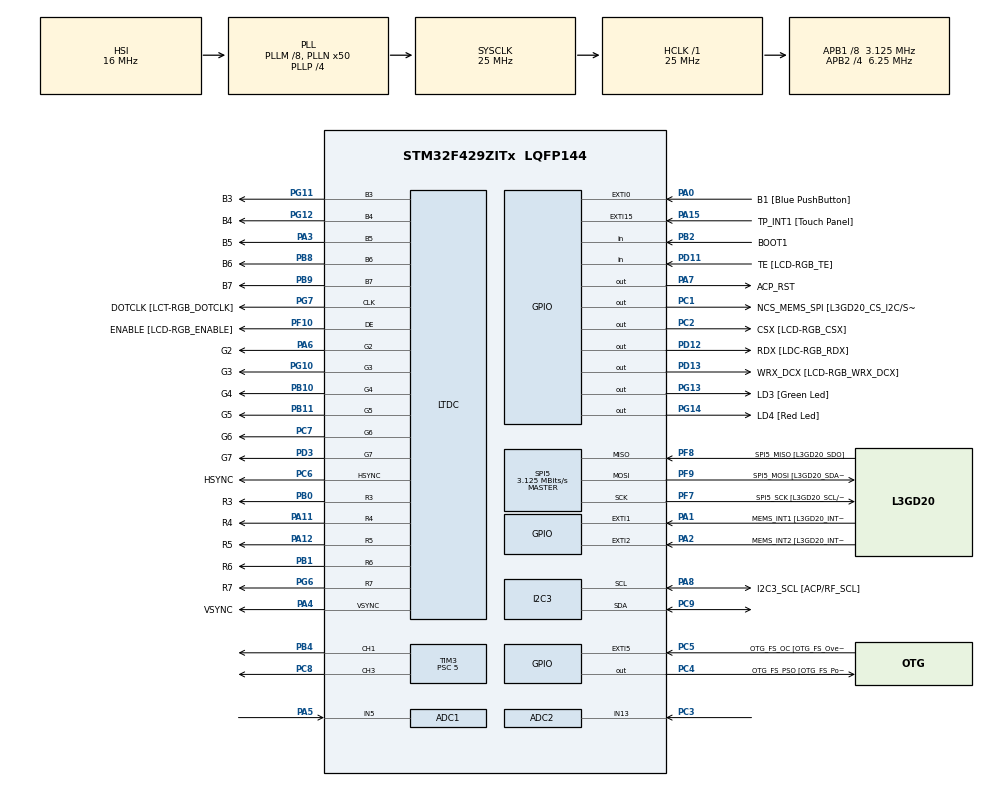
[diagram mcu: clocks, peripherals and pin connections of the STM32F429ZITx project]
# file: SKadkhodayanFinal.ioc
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ADC1.Channel-1\#ChannelRegularConversion=ADC_CHANNEL_5
ADC1.ContinuousConvMode=DISABLE
ADC1.DMAContinuousRequests=DISABLE
ADC1.DiscontinuousConvMode=DISABLE
ADC1.EOCSelection=ADC_EOC_SEQ_CONV
ADC1.InjNumberOfConversion=0
ADC1.Mode=__NULL
ADC1.NbrOfConversion=1
ADC1.NbrOfConversionFlag=1
ADC1.Rank-1\#ChannelRegularConversion=1
ADC1.Resolution=ADC_RESOLUTION_10B
ADC1.SamplingTime-1\#ChannelRegularConversion=ADC_SAMPLETIME_3CYCLES
ADC1.ScanConvMode=ENABLE
ADC1.master=1
ADC2.Channel-0\#ChannelRegularConversion=ADC_CHANNEL_13
ADC2.EOCSelection=ADC_EOC_SEQ_CONV
ADC2.NbrOfConversionFlag=1
ADC2.Rank-0\#ChannelRegularConversion=1
ADC2.Resolution=ADC_RESOLUTION_10B
ADC2.SamplingTime-0\#ChannelRegularConversion=ADC_SAMPLETIME_3CYCLES
ADC2.ScanConvMode=ENABLE
Mcu.Family=STM32F4
Mcu.Name=STM32F429ZITx
Mcu.Package=LQFP144
NVIC.PriorityGroup=NVIC_PRIORITYGROUP_0
PA0/WKUP.GPIO_Label=B1 [Blue PushButton]
PA0/WKUP.GPIO_ModeDefaultEXTI=GPIO_MODE_EVT_RISING
PA0/WKUP.GPIO_PuPd=GPIO_NOPULL
PA0/WKUP.Signal=GPXTI0
PA1.GPIO_Label=MEMS_INT1 [L3GD20_INT1]
PA1.GPIO_ModeDefaultEXTI=GPIO_MODE_EVT_RISING
PA1.GPIO_PuPd=GPIO_NOPULL
PA1.Signal=GPXTI1
PA10.GPIO_Label=STLINK_TX [STM32F103CBT6_PA2]
PA10.Signal=USART1_RX
PA11.GPIO_Label=R4
PA11.GPIO_Mode=GPIO_MODE_AF_PP
PA11.GPIO_PuPd=GPIO_NOPULL
PA11.GPIO_Speed=GPIO_SPEED_FREQ_LOW
PA11.Mode=RGB565
PA11.Signal=LTDC_R4
PA12.GPIO_Label=R5
PA12.GPIO_Mode=GPIO_MODE_AF_PP
PA12.GPIO_PuPd=GPIO_NOPULL
PA12.GPIO_Speed=GPIO_SPEED_FREQ_LOW
PA12.Mode=RGB565
PA12.Signal=LTDC_R5
PA13.GPIO_Label=SWDIO
PA13.Signal=SYS_JTMS-SWDIO
PA14.GPIO_Label=SWCLK
PA14.Signal=SYS_JTCK-SWCLK
PA15.GPIO_Label=TP_INT1 [Touch Panel]
PA15.GPIO_ModeDefaultEXTI=GPIO_MODE_EVT_RISING
PA15.GPIO_PuPd=GPIO_NOPULL
PA15.Signal=GPXTI15
PA2.GPIO_Label=MEMS_INT2 [L3GD20_INT2]
PA2.GPIO_ModeDefaultEXTI=GPIO_MODE_EVT_RISING
PA2.GPIO_PuPd=GPIO_NOPULL
PA2.Signal=GPXTI2
PA3.GPIO_Label=B5
PA3.GPIO_Mode=GPIO_MODE_AF_PP
PA3.GPIO_PuPd=GPIO_NOPULL
PA3.GPIO_Speed=GPIO_SPEED_FREQ_LOW
PA3.Mode=RGB565
PA3.Signal=LTDC_B5
PA4.GPIO_Label=VSYNC
PA4.GPIO_Mode=GPIO_MODE_AF_PP
PA4.GPIO_PuPd=GPIO_NOPULL
PA4.GPIO_Speed=GPIO_SPEED_FREQ_LOW
PA4.Mode=RGB565
PA4.Signal=LTDC_VSYNC
PA5.Signal=ADCx_IN5
PA6.GPIO_Label=G2
PA6.GPIO_Mode=GPIO_MODE_AF_PP
PA6.GPIO_PuPd=GPIO_NOPULL
PA6.GPIO_Speed=GPIO_SPEED_FREQ_LOW
PA6.Mode=RGB565
PA6.Signal=LTDC_G2
PA7.GPIO_Label=ACP_RST
PA7.GPIO_Mode=GPIO_MODE_OUTPUT_PP
PA7.GPIO_PuPd=GPIO_NOPULL
PA7.GPIO_Speed=GPIO_SPEED_FREQ_LOW
PA7.Signal=GPIO_Output
PA8.GPIO_Label=I2C3_SCL [ACP/RF_SCL]
PA8.GPIO_Mode=GPIO_MODE_AF_OD
PA8.GPIO_PuPd=GPIO_NOPULL
PA8.GPIO_Speed=GPIO_SPEED_FREQ_LOW
PA8.Mode=I2C
PA8.Signal=I2C3_SCL
PA9.GPIO_Label=STLINK_RX [STM32F103CBT6_PA3]
PA9.Signal=USART1_TX
PB0.GPIO_Label=R3
PB0.GPIO_Mode=GPIO_MODE_AF_PP
PB0.GPIO_PuPd=GPIO_NOPULL
PB0.GPIO_Speed=GPIO_SPEED_FREQ_LOW
PB0.Mode=RGB565
PB0.Signal=LTDC_R3
PB1.GPIO_Label=R6
PB1.GPIO_Mode=GPIO_MODE_AF_PP
PB1.GPIO_PuPd=GPIO_NOPULL
PB1.GPIO_Speed=GPIO_SPEED_FREQ_LOW
PB1.Mode=RGB565
PB1.Signal=LTDC_R6
PB10.GPIO_Label=G4
PB10.GPIO_Mode=GPIO_MODE_AF_PP
PB10.GPIO_PuPd=GPIO_NOPULL
PB10.GPIO_Speed=GPIO_SPEED_FREQ_LOW
PB10.Mode=RGB565
PB10.Signal=LTDC_G4
PB11.GPIO_Label=G5
PB11.GPIO_Mode=GPIO_MODE_AF_PP
PB11.GPIO_PuPd=GPIO_NOPULL
PB11.GPIO_Speed=GPIO_SPEED_FREQ_LOW
PB11.Mode=RGB565
PB11.Signal=LTDC_G5
PB12.GPIO_Label=OTG_HS_ID
PB12.GPIO_Mode=GPIO_MODE_AF_PP
PB12.GPIO_PuPd=GPIO_NOPULL
PB12.GPIO_Speed=GPIO_SPEED_FREQ_LOW
PB12.Signal=USB_OTG_HS_ID
PB13.GPIO_Label=VBUS_HS
PB13.GPIO_Mode=GPIO_MODE_INPUT
PB13.GPIO_PuPd=GPIO_NOPULL
PB13.Signal=USB_OTG_HS_VBUS
PB14.GPIO_Label=OTG_HS_DM
PB14.GPIO_Mode=GPIO_MODE_AF_PP
PB14.GPIO_PuPd=GPIO_NOPULL
PB14.GPIO_Speed=GPIO_SPEED_FREQ_LOW
PB14.Signal=USB_OTG_HS_DM
PB15.GPIO_Label=OTG_HS_DP
PB15.GPIO_Mode=GPIO_MODE_AF_PP
PB15.GPIO_PuPd=GPIO_NOPULL
PB15.GPIO_Speed=GPIO_SPEED_FREQ_LOW
PB15.Signal=USB_OTG_HS_DP
PB2/BOOT1.GPIO_Label=BOOT1
PB2/BOOT1.GPIO_Mode=GPIO_MODE_INPUT
PB2/BOOT1.GPIO_PuPd=GPIO_NOPULL
PB2/BOOT1.Signal=GPIO_Input
PB4.Signal=S_TIM3_CH1
PB5.GPIO_Label=SDCKE1
PB5.GPIO_Mode=GPIO_MODE_AF_PP
PB5.GPIO_PuPd=GPIO_NOPULL
PB5.GPIO_Speed=GPIO_SPEED_FREQ_VERY_HIGH
PB5.Signal=FMC_SDCKE1
PB6.GPIO_Label=SDNE1 [SDRAM_CS]
PB6.GPIO_Mode=GPIO_MODE_AF_PP
PB6.GPIO_PuPd=GPIO_NOPULL
PB6.GPIO_Speed=GPIO_SPEED_FREQ_VERY_HIGH
PB6.Signal=FMC_SDNE1
PB8.GPIO_Label=B6
PB8.GPIO_Mode=GPIO_MODE_AF_PP
PB8.GPIO_PuPd=GPIO_NOPULL
PB8.GPIO_Speed=GPIO_SPEED_FREQ_LOW
PB8.Mode=RGB565
PB8.Signal=LTDC_B6
PB9.GPIO_Label=B7
PB9.GPIO_Mode=GPIO_MODE_AF_PP
PB9.GPIO_PuPd=GPIO_NOPULL
PB9.GPIO_Speed=GPIO_SPEED_FREQ_LOW
PB9.Mode=RGB565
PB9.Signal=LTDC_B7
PC0.GPIO_Label=SDNWE
PC0.GPIO_Mode=GPIO_MODE_AF_PP
PC0.GPIO_PuPd=GPIO_NOPULL
PC0.GPIO_Speed=GPIO_SPEED_FREQ_VERY_HIGH
PC0.Signal=FMC_SDNWE
PC1.GPIO_Label=NCS_MEMS_SPI [L3GD20_CS_I2C/SPI]
PC1.GPIO_Mode=GPIO_MODE_OUTPUT_PP
PC1.GPIO_PuPd=GPIO_NOPULL
PC1.GPIO_Speed=GPIO_SPEED_FREQ_LOW
PC1.Signal=GPIO_Output
PC10.GPIO_Label=R2
PC10.GPIO_Mode=GPIO_MODE_AF_PP
PC10.GPIO_PuPd=GPIO_NOPULL
PC10.GPIO_Speed=GPIO_SPEED_FREQ_LOW
PC10.Signal=LTDC_R2
PC14/OSC32_IN.GPIO_Label=PC14-OSC32_IN
PC14/OSC32_IN.Mode=LSE-External-Oscillator
PC14/OSC32_IN.Signal=RCC_OSC32_IN
PC15/OSC32_OUT.GPIO_Label=PC15-OSC32_OUT
PC15/OSC32_OUT.Mode=LSE-External-Oscillator
PC15/OSC32_OUT.Signal=RCC_OSC32_OUT
PC2.GPIO_Label=CSX [LCD-RGB_CSX]
PC2.GPIO_Mode=GPIO_MODE_OUTPUT_PP
PC2.GPIO_PuPd=GPIO_NOPULL
PC2.GPIO_Speed=GPIO_SPEED_FREQ_LOW
PC2.Signal=GPIO_Output
PC3.Signal=ADCx_IN13
PC4.GPIO_Label=OTG_FS_PSO [OTG_FS_PowerSwitchOn]
PC4.GPIO_Mode=GPIO_MODE_OUTPUT_PP
PC4.GPIO_PuPd=GPIO_NOPULL
PC4.GPIO_Speed=GPIO_SPEED_FREQ_LOW
PC4.Signal=GPIO_Output
PC5.GPIO_Label=OTG_FS_OC [OTG_FS_OverCurrent]
PC5.GPIO_ModeDefaultEXTI=GPIO_MODE_EVT_RISING
PC5.Signal=GPXTI5
PC6.GPIO_Label=HSYNC
PC6.GPIO_Mode=GPIO_MODE_AF_PP
PC6.GPIO_PuPd=GPIO_NOPULL
PC6.GPIO_Speed=GPIO_SPEED_FREQ_LOW
PC6.Mode=RGB565
PC6.Signal=LTDC_HSYNC
PC7.GPIO_Label=G6
PC7.GPIO_Mode=GPIO_MODE_AF_PP
PC7.GPIO_PuPd=GPIO_NOPULL
PC7.GPIO_Speed=GPIO_SPEED_FREQ_LOW
PC7.Mode=RGB565
PC7.Signal=LTDC_G6
PC8.Signal=S_TIM3_CH3
PC9.Mode=I2C
PC9.Signal=I2C3_SDA
PD0.GPIO_Label=D2
PD0.GPIO_Mode=GPIO_MODE_AF_PP
PD0.GPIO_PuPd=GPIO_NOPULL
PD0.GPIO_Speed=GPIO_SPEED_FREQ_VERY_HIGH
PD0.Signal=FMC_D2_DA2
PD1.GPIO_Label=D3
PD1.GPIO_Mode=GPIO_MODE_AF_PP
PD1.GPIO_PuPd=GPIO_NOPULL
PD1.GPIO_Speed=GPIO_SPEED_FREQ_VERY_HIGH
PD1.Signal=FMC_D3_DA3
PD10.GPIO_Label=D15
PD10.GPIO_Mode=GPIO_MODE_AF_PP
PD10.GPIO_PuPd=GPIO_NOPULL
PD10.GPIO_Speed=GPIO_SPEED_FREQ_VERY_HIGH
PD10.Signal=FMC_D15_DA15
PD11.GPIO_Label=TE [LCD-RGB_TE]
PD11.GPIO_Mode=GPIO_MODE_INPUT
PD11.GPIO_PuPd=GPIO_NOPULL
PD11.Signal=GPIO_Input
PD12.GPIO_Label=RDX [LDC-RGB_RDX]
PD12.GPIO_Mode=GPIO_MODE_OUTPUT_PP
PD12.GPIO_PuPd=GPIO_NOPULL
PD12.GPIO_Speed=GPIO_SPEED_FREQ_LOW
PD12.Signal=GPIO_Output
PD13.GPIO_Label=WRX_DCX [LCD-RGB_WRX_DCX]
PD13.GPIO_Mode=GPIO_MODE_OUTPUT_PP
PD13.GPIO_PuPd=GPIO_NOPULL
PD13.GPIO_Speed=GPIO_SPEED_FREQ_LOW
PD13.Signal=GPIO_Output
PD14.GPIO_Label=D0
PD14.GPIO_Mode=GPIO_MODE_AF_PP
PD14.GPIO_PuPd=GPIO_NOPULL
PD14.GPIO_Speed=GPIO_SPEED_FREQ_VERY_HIGH
PD14.Signal=FMC_D0_DA0
PD15.GPIO_Label=D1
PD15.GPIO_Mode=GPIO_MODE_AF_PP
PD15.GPIO_PuPd=GPIO_NOPULL
PD15.GPIO_Speed=GPIO_SPEED_FREQ_VERY_HIGH
PD15.Signal=FMC_D1_DA1
PD3.GPIO_Label=G7
PD3.GPIO_Mode=GPIO_MODE_AF_PP
PD3.GPIO_PuPd=GPIO_NOPULL
PD3.GPIO_Speed=GPIO_SPEED_FREQ_LOW
PD3.Mode=RGB565
PD3.Signal=LTDC_G7
PD6.GPIO_Label=B2
PD6.GPIO_Mode=GPIO_MODE_AF_PP
PD6.GPIO_PuPd=GPIO_NOPULL
PD6.GPIO_Speed=GPIO_SPEED_FREQ_LOW
PD6.Signal=LTDC_B2
PD8.GPIO_Label=D13
PD8.GPIO_Mode=GPIO_MODE_AF_PP
PD8.GPIO_PuPd=GPIO_NOPULL
PD8.GPIO_Speed=GPIO_SPEED_FREQ_VERY_HIGH
PD8.Signal=FMC_D13_DA13
PD9.GPIO_Label=D14
PD9.GPIO_Mode=GPIO_MODE_AF_PP
PD9.GPIO_PuPd=GPIO_NOPULL
PD9.GPIO_Speed=GPIO_SPEED_FREQ_VERY_HIGH
PD9.Signal=FMC_D14_DA14
PE0.GPIO_Label=NBL0 [SDRAM_LDQM]
PE0.GPIO_Mode=GPIO_MODE_AF_PP
PE0.GPIO_PuPd=GPIO_NOPULL
PE0.GPIO_Speed=GPIO_SPEED_FREQ_VERY_HIGH
PE0.Signal=FMC_NBL0
PE1.GPIO_Label=NBL1 [SDRAM_UDQM]
PE1.GPIO_Mode=GPIO_MODE_AF_PP
PE1.GPIO_PuPd=GPIO_NOPULL
PE1.GPIO_Speed=GPIO_SPEED_FREQ_VERY_HIGH
PE1.Signal=FMC_NBL1
PE10.GPIO_Label=D7
PE10.GPIO_Mode=GPIO_MODE_AF_PP
PE10.GPIO_PuPd=GPIO_NOPULL
PE10.GPIO_Speed=GPIO_SPEED_FREQ_VERY_HIGH
PE10.Signal=FMC_D7_DA7
PE11.GPIO_Label=D8
PE11.GPIO_Mode=GPIO_MODE_AF_PP
PE11.GPIO_PuPd=GPIO_NOPULL
PE11.GPIO_Speed=GPIO_SPEED_FREQ_VERY_HIGH
PE11.Signal=FMC_D8_DA8
PE12.GPIO_Label=D9
PE12.GPIO_Mode=GPIO_MODE_AF_PP
PE12.GPIO_PuPd=GPIO_NOPULL
PE12.GPIO_Speed=GPIO_SPEED_FREQ_VERY_HIGH
PE12.Signal=FMC_D9_DA9
PE13.GPIO_Label=D10
PE13.GPIO_Mode=GPIO_MODE_AF_PP
PE13.GPIO_PuPd=GPIO_NOPULL
PE13.GPIO_Speed=GPIO_SPEED_FREQ_VERY_HIGH
PE13.Signal=FMC_D10_DA10
PE14.GPIO_Label=D11
PE14.GPIO_Mode=GPIO_MODE_AF_PP
PE14.GPIO_PuPd=GPIO_NOPULL
PE14.GPIO_Speed=GPIO_SPEED_FREQ_VERY_HIGH
PE14.Signal=FMC_D11_DA11
PE15.GPIO_Label=D12
PE15.GPIO_Mode=GPIO_MODE_AF_PP
PE15.GPIO_PuPd=GPIO_NOPULL
PE15.GPIO_Speed=GPIO_SPEED_FREQ_VERY_HIGH
PE15.Signal=FMC_D12_DA12
PE7.GPIO_Label=D4
PE7.GPIO_Mode=GPIO_MODE_AF_PP
PE7.GPIO_PuPd=GPIO_NOPULL
PE7.GPIO_Speed=GPIO_SPEED_FREQ_VERY_HIGH
PE7.Signal=FMC_D4_DA4
PE8.GPIO_Label=D5
PE8.GPIO_Mode=GPIO_MODE_AF_PP
PE8.GPIO_PuPd=GPIO_NOPULL
PE8.GPIO_Speed=GPIO_SPEED_FREQ_VERY_HIGH
PE8.Signal=FMC_D5_DA5
PE9.GPIO_Label=D6
PE9.GPIO_Mode=GPIO_MODE_AF_PP
PE9.GPIO_PuPd=GPIO_NOPULL
PE9.GPIO_Speed=GPIO_SPEED_FREQ_VERY_HIGH
PE9.Signal=FMC_D6_DA6
PF0.GPIO_Label=A0
PF0.GPIO_Mode=GPIO_MODE_AF_PP
PF0.GPIO_PuPd=GPIO_NOPULL
PF0.GPIO_Speed=GPIO_SPEED_FREQ_VERY_HIGH
PF0.Signal=FMC_A0
PF1.GPIO_Label=A1
PF1.GPIO_Mode=GPIO_MODE_AF_PP
PF1.GPIO_PuPd=GPIO_NOPULL
PF1.GPIO_Speed=GPIO_SPEED_FREQ_VERY_HIGH
PF1.Signal=FMC_A1
PF10.GPIO_Label=ENABLE [LCD-RGB_ENABLE]
PF10.GPIO_Mode=GPIO_MODE_AF_PP
PF10.GPIO_PuPd=GPIO_NOPULL
PF10.GPIO_Speed=GPIO_SPEED_FREQ_LOW
PF10.Mode=RGB565
PF10.Signal=LTDC_DE
PF11.GPIO_Label=SDNRAS
PF11.GPIO_Mode=GPIO_MODE_AF_PP
PF11.GPIO_PuPd=GPIO_NOPULL
PF11.GPIO_Speed=GPIO_SPEED_FREQ_VERY_HIGH
PF11.Signal=FMC_SDNRAS
PF12.GPIO_Label=A6
PF12.GPIO_Mode=GPIO_MODE_AF_PP
PF12.GPIO_PuPd=GPIO_NOPULL
PF12.GPIO_Speed=GPIO_SPEED_FREQ_VERY_HIGH
PF12.Signal=FMC_A6
PF13.GPIO_Label=A7
PF13.GPIO_Mode=GPIO_MODE_AF_PP
PF13.GPIO_PuPd=GPIO_NOPULL
PF13.GPIO_Speed=GPIO_SPEED_FREQ_VERY_HIGH
PF13.Signal=FMC_A7
PF14.GPIO_Label=A8
PF14.GPIO_Mode=GPIO_MODE_AF_PP
PF14.GPIO_PuPd=GPIO_NOPULL
PF14.GPIO_Speed=GPIO_SPEED_FREQ_VERY_HIGH
PF14.Signal=FMC_A8
PF15.GPIO_Label=A9
PF15.GPIO_Mode=GPIO_MODE_AF_PP
PF15.GPIO_PuPd=GPIO_NOPULL
PF15.GPIO_Speed=GPIO_SPEED_FREQ_VERY_HIGH
PF15.Signal=FMC_A9
PF2.GPIO_Label=A2
PF2.GPIO_Mode=GPIO_MODE_AF_PP
PF2.GPIO_PuPd=GPIO_NOPULL
PF2.GPIO_Speed=GPIO_SPEED_FREQ_VERY_HIGH
PF2.Signal=FMC_A2
PF3.GPIO_Label=A3
PF3.GPIO_Mode=GPIO_MODE_AF_PP
PF3.GPIO_PuPd=GPIO_NOPULL
PF3.GPIO_Speed=GPIO_SPEED_FREQ_VERY_HIGH
PF3.Signal=FMC_A3
PF4.GPIO_Label=A4
PF4.GPIO_Mode=GPIO_MODE_AF_PP
PF4.GPIO_PuPd=GPIO_NOPULL
PF4.GPIO_Speed=GPIO_SPEED_FREQ_VERY_HIGH
PF4.Signal=FMC_A4
PF5.GPIO_Label=A5
PF5.GPIO_Mode=GPIO_MODE_AF_PP
PF5.GPIO_PuPd=GPIO_NOPULL
PF5.GPIO_Speed=GPIO_SPEED_FREQ_VERY_HIGH
PF5.Signal=FMC_A5
PF7.GPIO_Label=SPI5_SCK [L3GD20_SCL/SPC]
PF7.GPIO_Mode=GPIO_MODE_AF_PP
PF7.GPIO_PuPd=GPIO_NOPULL
PF7.GPIO_Speed=GPIO_SPEED_FREQ_LOW
PF7.Mode=Full_Duplex_Master
PF7.Signal=SPI5_SCK
PF8.GPIO_Label=SPI5_MISO [L3GD20_SDO]
PF8.GPIO_Mode=GPIO_MODE_AF_PP
PF8.GPIO_PuPd=GPIO_NOPULL
PF8.GPIO_Speed=GPIO_SPEED_FREQ_LOW
PF8.Mode=Full_Duplex_Master
PF8.Signal=SPI5_MISO
PF9.GPIO_Label=SPI5_MOSI [L3GD20_SDA/SDI/SDO]
PF9.GPIO_Mode=GPIO_MODE_AF_PP
PF9.GPIO_PuPd=GPIO_NOPULL
PF9.GPIO_Speed=GPIO_SPEED_FREQ_LOW
PF9.Mode=Full_Duplex_Master
PF9.Signal=SPI5_MOSI
PG0.GPIO_Label=A10
PG0.GPIO_Mode=GPIO_MODE_AF_PP
PG0.GPIO_PuPd=GPIO_NOPULL
PG0.GPIO_Speed=GPIO_SPEED_FREQ_VERY_HIGH
PG0.Signal=FMC_A10
PG1.GPIO_Label=A11
PG1.GPIO_Mode=GPIO_MODE_AF_PP
PG1.GPIO_PuPd=GPIO_NOPULL
PG1.GPIO_Speed=GPIO_SPEED_FREQ_VERY_HIGH
PG1.Signal=FMC_A11
PG10.GPIO_Label=G3
PG10.GPIO_Mode=GPIO_MODE_AF_PP
PG10.GPIO_PuPd=GPIO_NOPULL
PG10.GPIO_Speed=GPIO_SPEED_FREQ_LOW
PG10.Mode=RGB565
PG10.Signal=LTDC_G3
PG11.GPIO_Label=B3
PG11.GPIO_Mode=GPIO_MODE_AF_PP
PG11.GPIO_PuPd=GPIO_NOPULL
PG11.GPIO_Speed=GPIO_SPEED_FREQ_LOW
PG11.Mode=RGB565
PG11.Signal=LTDC_B3
PG12.GPIO_Label=B4
PG12.GPIO_Mode=GPIO_MODE_AF_PP
PG12.GPIO_PuPd=GPIO_NOPULL
PG12.GPIO_Speed=GPIO_SPEED_FREQ_LOW
PG12.Mode=RGB565
PG12.Signal=LTDC_B4
PG13.GPIO_Label=LD3 [Green Led]
PG13.GPIO_Mode=GPIO_MODE_OUTPUT_PP
PG13.GPIO_PuPd=GPIO_NOPULL
PG13.GPIO_Speed=GPIO_SPEED_FREQ_LOW
PG13.Signal=GPIO_Output
PG14.GPIO_Label=LD4 [Red Led]
PG14.GPIO_Mode=GPIO_MODE_OUTPUT_PP
PG14.GPIO_PuPd=GPIO_NOPULL
PG14.GPIO_Speed=GPIO_SPEED_FREQ_LOW
PG14.Signal=GPIO_Output
PG15.GPIO_Label=SDNCAS
PG15.GPIO_Mode=GPIO_MODE_AF_PP
PG15.GPIO_PuPd=GPIO_NOPULL
PG15.GPIO_Speed=GPIO_SPEED_FREQ_VERY_HIGH
PG15.Signal=FMC_SDNCAS
PG4.GPIO_Label=BA0
PG4.GPIO_Mode=GPIO_MODE_AF_PP
PG4.GPIO_PuPd=GPIO_NOPULL
PG4.GPIO_Speed=GPIO_SPEED_FREQ_VERY_HIGH
PG4.Signal=FMC_A14_BA0
PG5.GPIO_Label=BA1
PG5.GPIO_Mode=GPIO_MODE_AF_PP
PG5.GPIO_PuPd=GPIO_NOPULL
PG5.GPIO_Speed=GPIO_SPEED_FREQ_VERY_HIGH
PG5.Signal=FMC_A15_BA1
PG6.GPIO_Label=R7
PG6.GPIO_Mode=GPIO_MODE_AF_PP
PG6.GPIO_PuPd=GPIO_NOPULL
PG6.GPIO_Speed=GPIO_SPEED_FREQ_LOW
PG6.Mode=RGB565
PG6.Signal=LTDC_R7
PG7.GPIO_Label=DOTCLK [LCT-RGB_DOTCLK]
PG7.GPIO_Mode=GPIO_MODE_AF_PP
PG7.GPIO_PuPd=GPIO_NOPULL
PG7.GPIO_Speed=GPIO_SPEED_FREQ_LOW
PG7.Mode=RGB565
PG7.Signal=LTDC_CLK
PG8.GPIO_Label=SDCLK
PG8.GPIO_Mode=GPIO_MODE_AF_PP
PG8.GPIO_PuPd=GPIO_NOPULL
PG8.GPIO_Speed=GPIO_SPEED_FREQ_VERY_HIGH
PG8.Signal=FMC_SDCLK
PH0/OSC_IN.GPIO_Label=PH0-OSC_IN
PH0/OSC_IN.Mode=HSE-External-Oscillator
PH0/OSC_IN.Signal=RCC_OSC_IN
PH1/OSC_OUT.GPIO_Label=PH1-OSC_OUT
PH1/OSC_OUT.Mode=HSE-External-Oscillator
PH1/OSC_OUT.Signal=RCC_OSC_OUT
ProjectManager.HeapSize=0x200
ProjectManager.StackSize=0x400
ProjectManager.TargetToolchain=STM32CubeIDE
RCC.48MHZClocksFreq_Value=14285714.285714285
RCC.AHBFreq_Value=25000000
RCC.APB1CLKDivider=RCC_HCLK_DIV8
RCC.APB1Freq_Value=3125000
RCC.APB1TimFreq_Value=6250000
RCC.APB2CLKDivider=RCC_HCLK_DIV4
RCC.APB2Freq_Value=6250000
RCC.APB2TimFreq_Value=12500000
RCC.CortexFreq_Value=25000000
RCC.HCLKFreq_Value=25000000
RCC.HSE_VALUE=8000000
RCC.HSI_VALUE=16000000
RCC.PLLM=8
RCC.PLLN=50
RCC.PLLP=RCC_PLLP_DIV4
RCC.PLLQ=7
RCC.PLLSAIN=50
RCC.SYSCLKFreq_VALUE=25000000
RCC.SYSCLKSource=RCC_SYSCLKSOURCE_PLLCLK
RCC.VCOOutputFreq_Value=100000000
SH.ADCx_IN13.0=ADC2_IN13,IN13
SH.ADCx_IN5.0=ADC1_IN5,IN5
SH.FMC_A0.0=FMC_A0
SH.FMC_A1.0=FMC_A1
SH.FMC_A10.0=FMC_A10
SH.FMC_A11.0=FMC_A11
SH.FMC_A14_BA0.0=FMC_BA0
SH.FMC_A15_BA1.0=FMC_BA1
SH.FMC_A2.0=FMC_A2
SH.FMC_A3.0=FMC_A3
SH.FMC_A4.0=FMC_A4
SH.FMC_A5.0=FMC_A5
SH.FMC_A6.0=FMC_A6
SH.FMC_A7.0=FMC_A7
SH.FMC_A8.0=FMC_A8
SH.FMC_A9.0=FMC_A9
SH.FMC_D0_DA0.0=FMC_D0
SH.FMC_D10_DA10.0=FMC_D10
SH.FMC_D11_DA11.0=FMC_D11
SH.FMC_D12_DA12.0=FMC_D12
SH.FMC_D13_DA13.0=FMC_D13
SH.FMC_D14_DA14.0=FMC_D14
SH.FMC_D15_DA15.0=FMC_D15
SH.FMC_D1_DA1.0=FMC_D1
SH.FMC_D2_DA2.0=FMC_D2
SH.FMC_D3_DA3.0=FMC_D3
SH.FMC_D4_DA4.0=FMC_D4
SH.FMC_D5_DA5.0=FMC_D5
SH.FMC_D6_DA6.0=FMC_D6
SH.FMC_D7_DA7.0=FMC_D7
SH.FMC_D8_DA8.0=FMC_D8
SH.FMC_D9_DA9.0=FMC_D9
SH.FMC_NBL0.0=FMC_NBL0
SH.FMC_NBL1.0=FMC_NBL1
SH.FMC_SDCLK.0=FMC_SDCLK
SH.FMC_SDNCAS.0=FMC_SDNCAS
SH.FMC_SDNRAS.0=FMC_SDNRAS
SH.FMC_SDNWE.0=FMC_SDNWE
SH.S_TIM3_CH1.0=TIM3_CH1,PWM Generation1 CH1
SH.S_TIM3_CH3.0=TIM3_CH3,PWM Generation3 CH3
SPI5.CalculateBaudRate=3.125 MBits/s
SPI5.Direction=SPI_DIRECTION_2LINES
SPI5.Mode=SPI_MODE_MASTER
SPI5.VirtualType=VM_MASTER
TIM3.Channel-PWM\ Generation1\ CH1=TIM_CHANNEL_1
TIM3.Channel-PWM\ Generation3\ CH3=TIM_CHANNEL_3
TIM3.Period=200
TIM3.Prescaler=5
VP_RNG_VS_RNG.Mode=RNG_Activate
VP_TIM3_VS_ClockSourceINT.Mode=Internal
board=STM32F429I-DISC1

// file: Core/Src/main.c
/* USER CODE BEGIN Header */
/**
  ******************************************************************************
  * @file           : main.c
  * @brief          : Main program body
  ******************************************************************************
  * @attention
  *
  * Copyright (c) 2024 STMicroelectronics.
  * All rights reserved.
  *
  * This software is licensed under terms that can be found in the LICENSE file
  * in the root directory of this software component.
  * If no LICENSE file comes with this software, it is provided AS-IS.
  *
  ******************************************************************************
  */
/* USER CODE END Header */
#include "main.h"

/* USER CODE BEGIN Includes */

#include "ApplicationCode.h"

/* USER CODE END Includes */

ADC_HandleTypeDef hadc1;
ADC_HandleTypeDef hadc2;

I2C_HandleTypeDef hi2c3;

LTDC_HandleTypeDef hltdc;

RNG_HandleTypeDef hrng;

SPI_HandleTypeDef hspi5;

TIM_HandleTypeDef htim3;

void SystemClock_Config(void);
static void MX_GPIO_Init(void);
static void MX_ADC1_Init(void);
static void MX_TIM3_Init(void);
static void MX_ADC2_Init(void);
static void MX_I2C3_Init(void);
static void MX_LTDC_Init(void);
static void MX_SPI5_Init(void);
static void MX_RNG_Init(void);
/* USER CODE BEGIN PFP */

void SystemClockOverride(void);

/* USER CODE END PFP */

/* USER CODE BEGIN 0 */

void SystemClockOverride(void)
{
  RCC_ClkInitTypeDef RCC_ClkInitStruct;
  RCC_OscInitTypeDef RCC_OscInitStruct;

  __HAL_RCC_PWR_CLK_ENABLE();

  // __HAL_PWR_VOLTAGESCALING_CONFIG(PWR_REGULATOR_VOLTAGE_SCALE1); // not needed, power scaling consumption for when not running at max freq.

  /* Enable HSE Osc and activate PLL with HSE source */
  RCC_OscInitStruct.OscillatorType = RCC_OSCILLATORTYPE_HSE;
  RCC_OscInitStruct.HSEState = RCC_HSE_ON;
  RCC_OscInitStruct.PLL.PLLState = RCC_PLL_ON;
  RCC_OscInitStruct.PLL.PLLSource = RCC_PLLSOURCE_HSE;
  RCC_OscInitStruct.PLL.PLLM = 8;
  RCC_OscInitStruct.PLL.PLLN = 336;
  RCC_OscInitStruct.PLL.PLLP = RCC_PLLP_DIV2;
  RCC_OscInitStruct.PLL.PLLQ = 7;
  HAL_RCC_OscConfig(&RCC_OscInitStruct);

  /* Select PLL as system clock source and configure the HCLK, PCLK1 and PCLK2 clocks dividers */
  RCC_ClkInitStruct.ClockType = (RCC_CLOCKTYPE_SYSCLK | RCC_CLOCKTYPE_HCLK | RCC_CLOCKTYPE_PCLK1 | RCC_CLOCKTYPE_PCLK2);
  RCC_ClkInitStruct.SYSCLKSource = RCC_SYSCLKSOURCE_PLLCLK;
  RCC_ClkInitStruct.AHBCLKDivider = RCC_SYSCLK_DIV1;
  RCC_ClkInitStruct.APB1CLKDivider = RCC_HCLK_DIV4;
  RCC_ClkInitStruct.APB2CLKDivider = RCC_HCLK_DIV2;
  HAL_RCC_ClockConfig(&RCC_ClkInitStruct, FLASH_LATENCY_5);
}

/* USER CODE END 0 */

int main(void)
{

  /* MCU Configuration--------------------------------------------------------*/

  /* Reset of all peripherals, Initializes the Flash interface and the Systick. */
  HAL_Init();

  /* Configure the system clock */
  //SystemClock_Config();

  /* USER CODE BEGIN SysInit */
  SystemClockOverride();

  /* USER CODE END SysInit */

  /* Initialize all configured peripherals */
  MX_GPIO_Init();
  MX_ADC1_Init();
  MX_TIM3_Init();
  MX_ADC2_Init();
  MX_I2C3_Init();
  MX_LTDC_Init();
  MX_SPI5_Init();
  MX_RNG_Init();
  /* USER CODE BEGIN 2 */

  HAL_TIM_PWM_Start(&htim3, TIM_CHANNEL_1);		// Left
  HAL_TIM_PWM_Start(&htim3, TIM_CHANNEL_3);		// Right

  joyPosTypeDef joyPos = {0};
  motorPowTypeDef motorPow = {0};

  uint16_t moveLog = 0;

  uint32_t runtime_min = 0;
  uint32_t runtime_sec = 0;

  ApplicationInit();

  //LCD_Visual_Demo();

  HAL_Delay(1000);

  //LCD_Touch_Polling_Demo();

  /* USER CODE END 2 */

  /* Infinite loop */
  while (1)
  {

    /* USER CODE BEGIN 3 */

	  while (getScreenNum() == 0) {

		  joystick_getCoords(&joyPos, hadc1, hadc2);

		  motor_CalculatePower(joyPos.xPos, joyPos.yPos, &motorPow);

		  motor_ApplyPower(motorPow.leftPow, motorPow.rightPow);

		  populateMoves(motorPow.leftPow, motorPow.rightPow, &moveLog);

//		  if ((tempJoyPos.xPos != joyPos.xPos) || (tempJoyPos.yPos != joyPos.yPos)) {
//			  displayMovementBase();
//
//			  displayCurrentMove(joyPos);
//
//			  displayMoveLog(moveLog);
//		  }
//		  if (tempMoveLog != moveLog) {
//			  displayMovementBase();
//
//			  displayCurrentMove(joyPos);
//
//			  displayMoveLog(moveLog);
//		  }

		  displayMovementBase();

		  displayCurrentMove(joyPos);

		  displayMoveLog(moveLog);

	  }

	  while (getScreenNum() == 1) {
		  LCD_Clear(0,LCD_COLOR_GREEN);

		  displayRunTime(&runtime_min, &runtime_sec);

		  populateMoves(motorPow.leftPow, motorPow.rightPow, &moveLog);
	  }

  }
  /* USER CODE END 3 */
}

void SystemClock_Config(void)
{
  RCC_OscInitTypeDef RCC_OscInitStruct = {0};
  RCC_ClkInitTypeDef RCC_ClkInitStruct = {0};

  /** Configure the main internal regulator output voltage
  */
  __HAL_RCC_PWR_CLK_ENABLE();
  __HAL_PWR_VOLTAGESCALING_CONFIG(PWR_REGULATOR_VOLTAGE_SCALE3);

  /** Initializes the RCC Oscillators according to the specified parameters
  * in the RCC_OscInitTypeDef structure.
  */
  RCC_OscInitStruct.OscillatorType = RCC_OSCILLATORTYPE_HSI;
  RCC_OscInitStruct.HSIState = RCC_HSI_ON;
  RCC_OscInitStruct.HSICalibrationValue = RCC_HSICALIBRATION_DEFAULT;
  RCC_OscInitStruct.PLL.PLLState = RCC_PLL_ON;
  RCC_OscInitStruct.PLL.PLLSource = RCC_PLLSOURCE_HSI;
  RCC_OscInitStruct.PLL.PLLM = 8;
  RCC_OscInitStruct.PLL.PLLN = 50;
  RCC_OscInitStruct.PLL.PLLP = RCC_PLLP_DIV4;
  RCC_OscInitStruct.PLL.PLLQ = 7;
  if (HAL_RCC_OscConfig(&RCC_OscInitStruct) != HAL_OK)
  {
    Error_Handler();
  }

  /** Initializes the CPU, AHB and APB buses clocks
  */
  RCC_ClkInitStruct.ClockType = RCC_CLOCKTYPE_HCLK|RCC_CLOCKTYPE_SYSCLK
                              |RCC_CLOCKTYPE_PCLK1|RCC_CLOCKTYPE_PCLK2;
  RCC_ClkInitStruct.SYSCLKSource = RCC_SYSCLKSOURCE_PLLCLK;
  RCC_ClkInitStruct.AHBCLKDivider = RCC_SYSCLK_DIV1;
  RCC_ClkInitStruct.APB1CLKDivider = RCC_HCLK_DIV8;
  RCC_ClkInitStruct.APB2CLKDivider = RCC_HCLK_DIV4;

  if (HAL_RCC_ClockConfig(&RCC_ClkInitStruct, FLASH_LATENCY_0) != HAL_OK)
  {
    Error_Handler();
  }
}

static void MX_ADC1_Init(void)
{

  ADC_ChannelConfTypeDef sConfig = {0};

  /** Configure the global features of the ADC (Clock, Resolution, Data Alignment and number of conversion)
  */
  hadc1.Instance = ADC1;
  hadc1.Init.ClockPrescaler = ADC_CLOCK_SYNC_PCLK_DIV2;
  hadc1.Init.Resolution = ADC_RESOLUTION_10B;
  hadc1.Init.ScanConvMode = ENABLE;
  hadc1.Init.ContinuousConvMode = DISABLE;
  hadc1.Init.DiscontinuousConvMode = DISABLE;
  hadc1.Init.ExternalTrigConvEdge = ADC_EXTERNALTRIGCONVEDGE_NONE;
  hadc1.Init.ExternalTrigConv = ADC_SOFTWARE_START;
  hadc1.Init.DataAlign = ADC_DATAALIGN_RIGHT;
  hadc1.Init.NbrOfConversion = 1;
  hadc1.Init.DMAContinuousRequests = DISABLE;
  hadc1.Init.EOCSelection = ADC_EOC_SEQ_CONV;
  if (HAL_ADC_Init(&hadc1) != HAL_OK)
  {
    Error_Handler();
  }

  /** Configure for the selected ADC regular channel its corresponding rank in the sequencer and its sample time.
  */
  sConfig.Channel = ADC_CHANNEL_5;
  sConfig.Rank = 1;
  sConfig.SamplingTime = ADC_SAMPLETIME_3CYCLES;
  if (HAL_ADC_ConfigChannel(&hadc1, &sConfig) != HAL_OK)
  {
    Error_Handler();
  }

}

static void MX_ADC2_Init(void)
{

  ADC_ChannelConfTypeDef sConfig = {0};

  /** Configure the global features of the ADC (Clock, Resolution, Data Alignment and number of conversion)
  */
  hadc2.Instance = ADC2;
  hadc2.Init.ClockPrescaler = ADC_CLOCK_SYNC_PCLK_DIV2;
  hadc2.Init.Resolution = ADC_RESOLUTION_10B;
  hadc2.Init.ScanConvMode = ENABLE;
  hadc2.Init.ContinuousConvMode = DISABLE;
  hadc2.Init.DiscontinuousConvMode = DISABLE;
  hadc2.Init.ExternalTrigConvEdge = ADC_EXTERNALTRIGCONVEDGE_NONE;
  hadc2.Init.ExternalTrigConv = ADC_SOFTWARE_START;
  hadc2.Init.DataAlign = ADC_DATAALIGN_RIGHT;
  hadc2.Init.NbrOfConversion = 1;
  hadc2.Init.DMAContinuousRequests = DISABLE;
  hadc2.Init.EOCSelection = ADC_EOC_SEQ_CONV;
  if (HAL_ADC_Init(&hadc2) != HAL_OK)
  {
    Error_Handler();
  }

  /** Configure for the selected ADC regular channel its corresponding rank in the sequencer and its sample time.
  */
  sConfig.Channel = ADC_CHANNEL_13;
  sConfig.Rank = 1;
  sConfig.SamplingTime = ADC_SAMPLETIME_3CYCLES;
  if (HAL_ADC_ConfigChannel(&hadc2, &sConfig) != HAL_OK)
  {
    Error_Handler();
  }

}

static void MX_I2C3_Init(void)
{

  hi2c3.Instance = I2C3;
  hi2c3.Init.ClockSpeed = 100000;
  hi2c3.Init.DutyCycle = I2C_DUTYCYCLE_2;
  hi2c3.Init.OwnAddress1 = 0;
  hi2c3.Init.AddressingMode = I2C_ADDRESSINGMODE_7BIT;
  hi2c3.Init.DualAddressMode = I2C_DUALADDRESS_DISABLE;
  hi2c3.Init.OwnAddress2 = 0;
  hi2c3.Init.GeneralCallMode = I2C_GENERALCALL_DISABLE;
  hi2c3.Init.NoStretchMode = I2C_NOSTRETCH_DISABLE;
  if (HAL_I2C_Init(&hi2c3) != HAL_OK)
  {
    Error_Handler();
  }

  /** Configure Analogue filter
  */
  if (HAL_I2CEx_ConfigAnalogFilter(&hi2c3, I2C_ANALOGFILTER_ENABLE) != HAL_OK)
  {
    Error_Handler();
  }

  /** Configure Digital filter
  */
  if (HAL_I2CEx_ConfigDigitalFilter(&hi2c3, 0) != HAL_OK)
  {
    Error_Handler();
  }

}

static void MX_LTDC_Init(void)
{

  LTDC_LayerCfgTypeDef pLayerCfg = {0};
  LTDC_LayerCfgTypeDef pLayerCfg1 = {0};

  hltdc.Instance = LTDC;
  hltdc.Init.HSPolarity = LTDC_HSPOLARITY_AL;
  hltdc.Init.VSPolarity = LTDC_VSPOLARITY_AL;
  hltdc.Init.DEPolarity = LTDC_DEPOLARITY_AL;
  hltdc.Init.PCPolarity = LTDC_PCPOLARITY_IPC;
  hltdc.Init.HorizontalSync = 7;
  hltdc.Init.VerticalSync = 3;
  hltdc.Init.AccumulatedHBP = 14;
  hltdc.Init.AccumulatedVBP = 5;
  hltdc.Init.AccumulatedActiveW = 654;
  hltdc.Init.AccumulatedActiveH = 485;
  hltdc.Init.TotalWidth = 660;
  hltdc.Init.TotalHeigh = 487;
  hltdc.Init.Backcolor.Blue = 0;
  hltdc.Init.Backcolor.Green = 0;
  hltdc.Init.Backcolor.Red = 0;
  if (HAL_LTDC_Init(&hltdc) != HAL_OK)
  {
    Error_Handler();
  }
  pLayerCfg.WindowX0 = 0;
  pLayerCfg.WindowX1 = 0;
  pLayerCfg.WindowY0 = 0;
  pLayerCfg.WindowY1 = 0;
  pLayerCfg.PixelFormat = LTDC_PIXEL_FORMAT_ARGB8888;
  pLayerCfg.Alpha = 0;
  pLayerCfg.Alpha0 = 0;
  pLayerCfg.BlendingFactor1 = LTDC_BLENDING_FACTOR1_CA;
  pLayerCfg.BlendingFactor2 = LTDC_BLENDING_FACTOR2_CA;
  pLayerCfg.FBStartAdress = 0;
  pLayerCfg.ImageWidth = 0;
  pLayerCfg.ImageHeight = 0;
  pLayerCfg.Backcolor.Blue = 0;
  pLayerCfg.Backcolor.Green = 0;
  pLayerCfg.Backcolor.Red = 0;
  if (HAL_LTDC_ConfigLayer(&hltdc, &pLayerCfg, 0) != HAL_OK)
  {
    Error_Handler();
  }
  pLayerCfg1.WindowX0 = 0;
  pLayerCfg1.WindowX1 = 0;
  pLayerCfg1.WindowY0 = 0;
  pLayerCfg1.WindowY1 = 0;
  pLayerCfg1.PixelFormat = LTDC_PIXEL_FORMAT_ARGB8888;
  pLayerCfg1.Alpha = 0;
  pLayerCfg1.Alpha0 = 0;
  pLayerCfg1.BlendingFactor1 = LTDC_BLENDING_FACTOR1_CA;
  pLayerCfg1.BlendingFactor2 = LTDC_BLENDING_FACTOR2_CA;
  pLayerCfg1.FBStartAdress = 0;
  pLayerCfg1.ImageWidth = 0;
  pLayerCfg1.ImageHeight = 0;
  pLayerCfg1.Backcolor.Blue = 0;
  pLayerCfg1.Backcolor.Green = 0;
  pLayerCfg1.Backcolor.Red = 0;
  if (HAL_LTDC_ConfigLayer(&hltdc, &pLayerCfg1, 1) != HAL_OK)
  {
    Error_Handler();
  }

}

static void MX_RNG_Init(void)
{

  hrng.Instance = RNG;
  if (HAL_RNG_Init(&hrng) != HAL_OK)
  {
    Error_Handler();
  }

}

static void MX_SPI5_Init(void)
{

  /* SPI5 parameter configuration*/
  hspi5.Instance = SPI5;
  hspi5.Init.Mode = SPI_MODE_MASTER;
  hspi5.Init.Direction = SPI_DIRECTION_2LINES;
  hspi5.Init.DataSize = SPI_DATASIZE_8BIT;
  hspi5.Init.CLKPolarity = SPI_POLARITY_LOW;
  hspi5.Init.CLKPhase = SPI_PHASE_1EDGE;
  hspi5.Init.NSS = SPI_NSS_SOFT;
  hspi5.Init.BaudRatePrescaler = SPI_BAUDRATEPRESCALER_2;
  hspi5.Init.FirstBit = SPI_FIRSTBIT_MSB;
  hspi5.Init.TIMode = SPI_TIMODE_DISABLE;
  hspi5.Init.CRCCalculation = SPI_CRCCALCULATION_DISABLE;
  hspi5.Init.CRCPolynomial = 10;
  if (HAL_SPI_Init(&hspi5) != HAL_OK)
  {
    Error_Handler();
  }

}

static void MX_TIM3_Init(void)
{

  TIM_ClockConfigTypeDef sClockSourceConfig = {0};
  TIM_MasterConfigTypeDef sMasterConfig = {0};
  TIM_OC_InitTypeDef sConfigOC = {0};

  htim3.Instance = TIM3;
  htim3.Init.Prescaler = 5;
  htim3.Init.CounterMode = TIM_COUNTERMODE_UP;
  htim3.Init.Period = 200;
  htim3.Init.ClockDivision = TIM_CLOCKDIVISION_DIV1;
  htim3.Init.AutoReloadPreload = TIM_AUTORELOAD_PRELOAD_DISABLE;
  if (HAL_TIM_Base_Init(&htim3) != HAL_OK)
  {
    Error_Handler();
  }
  sClockSourceConfig.ClockSource = TIM_CLOCKSOURCE_INTERNAL;
  if (HAL_TIM_ConfigClockSource(&htim3, &sClockSourceConfig) != HAL_OK)
  {
    Error_Handler();
  }
  if (HAL_TIM_PWM_Init(&htim3) != HAL_OK)
  {
    Error_Handler();
  }
  sMasterConfig.MasterOutputTrigger = TIM_TRGO_RESET;
  sMasterConfig.MasterSlaveMode = TIM_MASTERSLAVEMODE_DISABLE;
  if (HAL_TIMEx_MasterConfigSynchronization(&htim3, &sMasterConfig) != HAL_OK)
  {
    Error_Handler();
  }
  sConfigOC.OCMode = TIM_OCMODE_PWM1;
  sConfigOC.Pulse = 0;
  sConfigOC.OCPolarity = TIM_OCPOLARITY_HIGH;
  sConfigOC.OCFastMode = TIM_OCFAST_DISABLE;
  if (HAL_TIM_PWM_ConfigChannel(&htim3, &sConfigOC, TIM_CHANNEL_1) != HAL_OK)
  {
    Error_Handler();
  }
  if (HAL_TIM_PWM_ConfigChannel(&htim3, &sConfigOC, TIM_CHANNEL_3) != HAL_OK)
  {
    Error_Handler();
  }
  HAL_TIM_MspPostInit(&htim3);

}

static void MX_GPIO_Init(void)
{
  GPIO_InitTypeDef GPIO_InitStruct = {0};

  /* GPIO Ports Clock Enable */
  __HAL_RCC_GPIOC_CLK_ENABLE();
  __HAL_RCC_GPIOF_CLK_ENABLE();
  __HAL_RCC_GPIOH_CLK_ENABLE();
  __HAL_RCC_GPIOA_CLK_ENABLE();
  __HAL_RCC_GPIOB_CLK_ENABLE();
  __HAL_RCC_GPIOG_CLK_ENABLE();
  __HAL_RCC_GPIOE_CLK_ENABLE();
  __HAL_RCC_GPIOD_CLK_ENABLE();

  /*Configure GPIO pin Output Level */
  HAL_GPIO_WritePin(GPIOC, NCS_MEMS_SPI_Pin|CSX_Pin|OTG_FS_PSO_Pin, GPIO_PIN_RESET);

  /*Configure GPIO pin Output Level */
  HAL_GPIO_WritePin(ACP_RST_GPIO_Port, ACP_RST_Pin, GPIO_PIN_RESET);

  /*Configure GPIO pin Output Level */
  HAL_GPIO_WritePin(GPIOD, RDX_Pin|WRX_DCX_Pin, GPIO_PIN_RESET);

  /*Configure GPIO pin Output Level */
  HAL_GPIO_WritePin(GPIOG, LD3_Pin|LD4_Pin, GPIO_PIN_RESET);

  /*Configure GPIO pins : A0_Pin A1_Pin A2_Pin A3_Pin
                           A4_Pin A5_Pin SDNRAS_Pin A6_Pin
                           A7_Pin A8_Pin A9_Pin */
  GPIO_InitStruct.Pin = A0_Pin|A1_Pin|A2_Pin|A3_Pin
                          |A4_Pin|A5_Pin|SDNRAS_Pin|A6_Pin
                          |A7_Pin|A8_Pin|A9_Pin;
  GPIO_InitStruct.Mode = GPIO_MODE_AF_PP;
  GPIO_InitStruct.Pull = GPIO_NOPULL;
  GPIO_InitStruct.Speed = GPIO_SPEED_FREQ_VERY_HIGH;
  GPIO_InitStruct.Alternate = GPIO_AF12_FMC;
  HAL_GPIO_Init(GPIOF, &GPIO_InitStruct);

  /*Configure GPIO pin : SDNWE_Pin */
  GPIO_InitStruct.Pin = SDNWE_Pin;
  GPIO_InitStruct.Mode = GPIO_MODE_AF_PP;
  GPIO_InitStruct.Pull = GPIO_NOPULL;
  GPIO_InitStruct.Speed = GPIO_SPEED_FREQ_VERY_HIGH;
  GPIO_InitStruct.Alternate = GPIO_AF12_FMC;
  HAL_GPIO_Init(SDNWE_GPIO_Port, &GPIO_InitStruct);

  /*Configure GPIO pins : NCS_MEMS_SPI_Pin CSX_Pin OTG_FS_PSO_Pin */
  GPIO_InitStruct.Pin = NCS_MEMS_SPI_Pin|CSX_Pin|OTG_FS_PSO_Pin;
  GPIO_InitStruct.Mode = GPIO_MODE_OUTPUT_PP;
  GPIO_InitStruct.Pull = GPIO_NOPULL;
  GPIO_InitStruct.Speed = GPIO_SPEED_FREQ_LOW;
  HAL_GPIO_Init(GPIOC, &GPIO_InitStruct);

  /*Configure GPIO pins : B1_Pin MEMS_INT1_Pin MEMS_INT2_Pin TP_INT1_Pin */
  GPIO_InitStruct.Pin = B1_Pin|MEMS_INT1_Pin|MEMS_INT2_Pin|TP_INT1_Pin;
  GPIO_InitStruct.Mode = GPIO_MODE_EVT_RISING;
  GPIO_InitStruct.Pull = GPIO_NOPULL;
  HAL_GPIO_Init(GPIOA, &GPIO_InitStruct);

  /*Configure GPIO pin : ACP_RST_Pin */
  GPIO_InitStruct.Pin = ACP_RST_Pin;
  GPIO_InitStruct.Mode = GPIO_MODE_OUTPUT_PP;
  GPIO_InitStruct.Pull = GPIO_NOPULL;
  GPIO_InitStruct.Speed = GPIO_SPEED_FREQ_LOW;
  HAL_GPIO_Init(ACP_RST_GPIO_Port, &GPIO_InitStruct);

  /*Configure GPIO pin : OTG_FS_OC_Pin */
  GPIO_InitStruct.Pin = OTG_FS_OC_Pin;
  GPIO_InitStruct.Mode = GPIO_MODE_EVT_RISING;
  GPIO_InitStruct.Pull = GPIO_NOPULL;
  HAL_GPIO_Init(OTG_FS_OC_GPIO_Port, &GPIO_InitStruct);

  /*Configure GPIO pin : BOOT1_Pin */
  GPIO_InitStruct.Pin = BOOT1_Pin;
  GPIO_InitStruct.Mode = GPIO_MODE_INPUT;
  GPIO_InitStruct.Pull = GPIO_NOPULL;
  HAL_GPIO_Init(BOOT1_GPIO_Port, &GPIO_InitStruct);

  /*Configure GPIO pins : A10_Pin A11_Pin BA0_Pin BA1_Pin
                           SDCLK_Pin SDNCAS_Pin */
  GPIO_InitStruct.Pin = A10_Pin|A11_Pin|BA0_Pin|BA1_Pin
                          |SDCLK_Pin|SDNCAS_Pin;
  GPIO_InitStruct.Mode = GPIO_MODE_AF_PP;
  GPIO_InitStruct.Pull = GPIO_NOPULL;
  GPIO_InitStruct.Speed = GPIO_SPEED_FREQ_VERY_HIGH;
  GPIO_InitStruct.Alternate = GPIO_AF12_FMC;
  HAL_GPIO_Init(GPIOG, &GPIO_InitStruct);

  /*Configure GPIO pins : D4_Pin D5_Pin D6_Pin D7_Pin
                           D8_Pin D9_Pin D10_Pin D11_Pin
                           D12_Pin NBL0_Pin NBL1_Pin */
  GPIO_InitStruct.Pin = D4_Pin|D5_Pin|D6_Pin|D7_Pin
                          |D8_Pin|D9_Pin|D10_Pin|D11_Pin
                          |D12_Pin|NBL0_Pin|NBL1_Pin;
  GPIO_InitStruct.Mode = GPIO_MODE_AF_PP;
  GPIO_InitStruct.Pull = GPIO_NOPULL;
  GPIO_InitStruct.Speed = GPIO_SPEED_FREQ_VERY_HIGH;
  GPIO_InitStruct.Alternate = GPIO_AF12_FMC;
  HAL_GPIO_Init(GPIOE, &GPIO_InitStruct);

  /*Configure GPIO pins : OTG_HS_ID_Pin OTG_HS_DM_Pin OTG_HS_DP_Pin */
  GPIO_InitStruct.Pin = OTG_HS_ID_Pin|OTG_HS_DM_Pin|OTG_HS_DP_Pin;
  GPIO_InitStruct.Mode = GPIO_MODE_AF_PP;
  GPIO_InitStruct.Pull = GPIO_NOPULL;
  GPIO_InitStruct.Speed = GPIO_SPEED_FREQ_LOW;
  GPIO_InitStruct.Alternate = GPIO_AF12_OTG_HS_FS;
  HAL_GPIO_Init(GPIOB, &GPIO_InitStruct);

  /*Configure GPIO pin : VBUS_HS_Pin */
  GPIO_InitStruct.Pin = VBUS_HS_Pin;
  GPIO_InitStruct.Mode = GPIO_MODE_INPUT;
  GPIO_InitStruct.Pull = GPIO_NOPULL;
  HAL_GPIO_Init(VBUS_HS_GPIO_Port, &GPIO_InitStruct);

  /*Configure GPIO pins : D13_Pin D14_Pin D15_Pin D0_Pin
                           D1_Pin D2_Pin D3_Pin */
  GPIO_InitStruct.Pin = D13_Pin|D14_Pin|D15_Pin|D0_Pin
                          |D1_Pin|D2_Pin|D3_Pin;
  GPIO_InitStruct.Mode = GPIO_MODE_AF_PP;
  GPIO_InitStruct.Pull = GPIO_NOPULL;
  GPIO_InitStruct.Speed = GPIO_SPEED_FREQ_VERY_HIGH;
  GPIO_InitStruct.Alternate = GPIO_AF12_FMC;
  HAL_GPIO_Init(GPIOD, &GPIO_InitStruct);

  /*Configure GPIO pin : TE_Pin */
  GPIO_InitStruct.Pin = TE_Pin;
  GPIO_InitStruct.Mode = GPIO_MODE_INPUT;
  GPIO_InitStruct.Pull = GPIO_NOPULL;
  HAL_GPIO_Init(TE_GPIO_Port, &GPIO_InitStruct);

  /*Configure GPIO pins : RDX_Pin WRX_DCX_Pin */
  GPIO_InitStruct.Pin = RDX_Pin|WRX_DCX_Pin;
  GPIO_InitStruct.Mode = GPIO_MODE_OUTPUT_PP;
  GPIO_InitStruct.Pull = GPIO_NOPULL;
  GPIO_InitStruct.Speed = GPIO_SPEED_FREQ_LOW;
  HAL_GPIO_Init(GPIOD, &GPIO_InitStruct);

  /*Configure GPIO pins : STLINK_RX_Pin STLINK_TX_Pin */
  GPIO_InitStruct.Pin = STLINK_RX_Pin|STLINK_TX_Pin;
  GPIO_InitStruct.Mode = GPIO_MODE_AF_PP;
  GPIO_InitStruct.Pull = GPIO_NOPULL;
  GPIO_InitStruct.Speed = GPIO_SPEED_FREQ_VERY_HIGH;
  GPIO_InitStruct.Alternate = GPIO_AF7_USART1;
  HAL_GPIO_Init(GPIOA, &GPIO_InitStruct);

  /*Configure GPIO pins : LD3_Pin LD4_Pin */
  GPIO_InitStruct.Pin = LD3_Pin|LD4_Pin;
  GPIO_InitStruct.Mode = GPIO_MODE_OUTPUT_PP;
  GPIO_InitStruct.Pull = GPIO_NOPULL;
  GPIO_InitStruct.Speed = GPIO_SPEED_FREQ_LOW;
  HAL_GPIO_Init(GPIOG, &GPIO_InitStruct);

  /*Configure GPIO pins : SDCKE1_Pin SDNE1_Pin */
  GPIO_InitStruct.Pin = SDCKE1_Pin|SDNE1_Pin;
  GPIO_InitStruct.Mode = GPIO_MODE_AF_PP;
  GPIO_InitStruct.Pull = GPIO_NOPULL;
  GPIO_InitStruct.Speed = GPIO_SPEED_FREQ_VERY_HIGH;
  GPIO_InitStruct.Alternate = GPIO_AF12_FMC;
  HAL_GPIO_Init(GPIOB, &GPIO_InitStruct);

}

void Error_Handler(void)
{
  __disable_irq();
  while (1)
  {
  }
}
